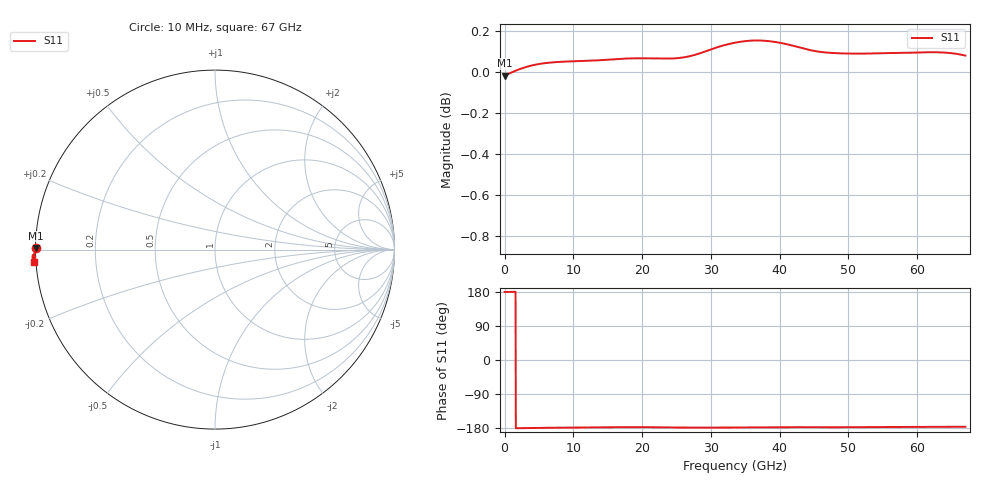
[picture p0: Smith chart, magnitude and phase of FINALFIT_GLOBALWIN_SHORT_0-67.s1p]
! Generated by Phase I extraction
# Hz S RI R 50
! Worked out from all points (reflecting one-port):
!   1601 points, 10 MHz to 67 GHz, reference 50 ohm
!   lowest |S11| = 0.0 dB at 10 MHz (marker M1), VSWR 922.15, Z = 0.0542 + j0.211 ohm
!   phase of S11 starts at 180 deg and turns +4 deg over the sweep
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1e7  -0.9978 0.00843
2.522125e9  -1.002 -0.00445
4.071269e9  -1.004 -0.0112
5.913494e9  -1.005 -0.018
8.38375e9  -1.005 -0.0257
1.449659e10  -1.006 -0.0439
1.67575e10  -1.006 -0.0492
1.859972e10  -1.006 -0.0509
2.027448e10  -1.006 -0.0492
2.153054e10  -1.006 -0.0457
2.391706e10  -1.007 -0.0361
2.513125e10  -1.007 -0.0322
2.693161e10  -1.008 -0.0285
2.885757e10  -1.011 -0.0275
3.111848e10  -1.014 -0.0291
3.3505e10  -1.016 -0.0332
3.626834e10  -1.017 -0.0404
3.903168e10  -1.016 -0.0476
4.045521e10  -1.015 -0.0492
4.187875e10  -1.014 -0.0486
4.451648e10  -1.011 -0.0451
4.610749e10  -1.01 -0.0441
4.794972e10  -1.009 -0.0447
5.02525e10  -1.009 -0.0471
5.862625e10  -1.009 -0.0593
6.335742e10  -1.009 -0.0657
6.507404e10  -1.008 -0.0669
6.7e10  -1.007 -0.0672
